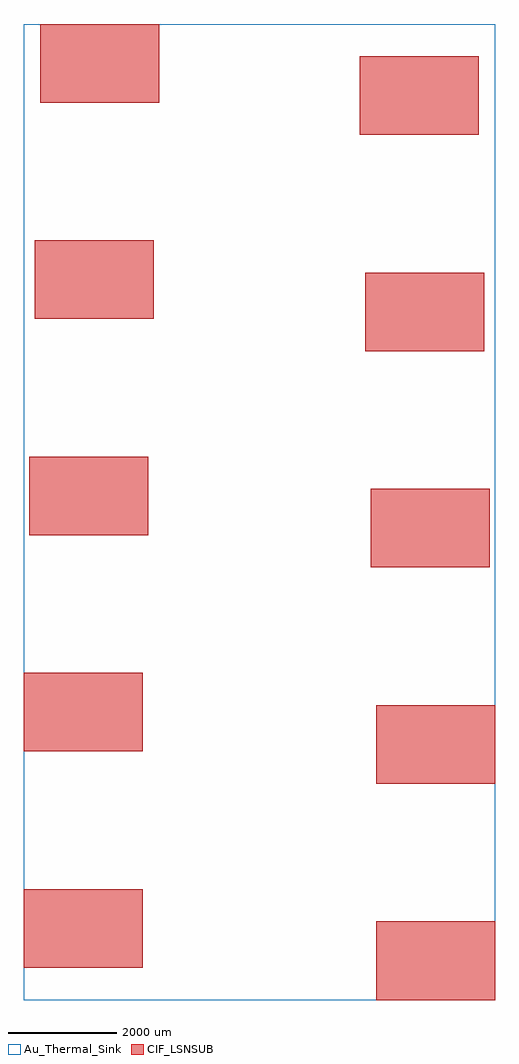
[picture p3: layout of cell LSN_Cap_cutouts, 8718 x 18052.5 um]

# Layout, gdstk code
import gdstk
lib = gdstk.Library(unit=1e-6, precision=1e-09)
def R(c, l, rs):  # rectangles x0, y0, x1, y1
    for r in rs: c.add(gdstk.rectangle(r[:2], r[2:], *l))
CIF_LSNSUB = (4, 0)
Au_Thermal_Sink = (12, 0)

lsn_cap_cutouts = lib.new_cell('LSN_Cap_cutouts')
R(lsn_cap_cutouts, CIF_LSNSUB, [(2389.442,-10015.704,4591.442,-8562.704), (-4126.558,-9416.205,-1924.558,-7963.205), (2389.442,-6015.704,4591.442,-4562.704), (-4126.558,-5416.205,-1924.558,-3963.205), (2289.442,-2015.704,4491.442,-562.704), (-4026.558,-1416.205,-1824.558,36.795), (2189.442,1984.296,4391.442,3437.296), (-3926.558,2583.795,-1724.558,4036.795), (2089.442,5984.296,4291.442,7437.296), (-3826.558,6583.795,-1624.558,8036.795)])
R(lsn_cap_cutouts, Au_Thermal_Sink, [(-4126.558,-10015.704,4591.442,8036.795)])

lib.write_gds('LSN_Cap_cutouts.gds')
